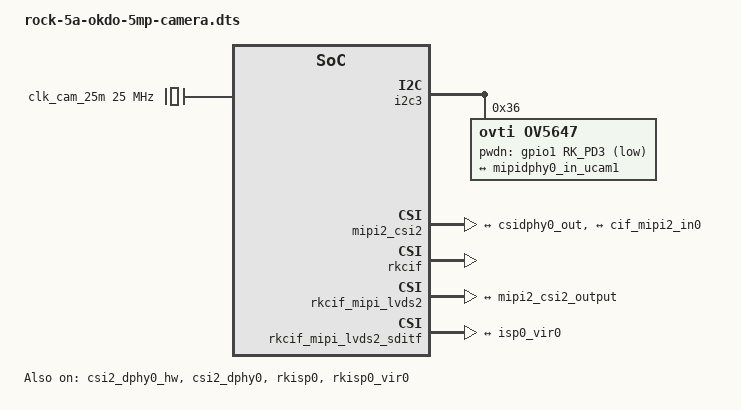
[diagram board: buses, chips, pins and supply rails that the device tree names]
/dts-v1/;
/plugin/;

#include <dt-bindings/gpio/gpio.h>
#include <dt-bindings/pinctrl/rockchip.h>

/ {
	metadata {
		title ="Enable OKDO 5MP Camera";
		compatible = "radxa,rock-5a", "radxa,rock-5c";
		category = "camera";
		exclusive = "csi2_dphy0";
		description = "Enable OKDO 5MP Camera.";
	};
};

&{/} {
	clk_cam_25m: external-camera-clock-25m {
		status = "okay";
		compatible = "fixed-clock";
		clock-frequency = <25000000>;
		clock-output-names = "clk_cam_25m";
		#clock-cells = <0>;
	};
};

&i2c3 {
	status = "okay";

	ov5647: ov5647@36 {
		status = "okay";
		compatible = "ovti,ov5647";
		reg = <0x36>;
		clocks = <&clk_cam_25m>;
		pwdn-gpios = <&gpio1 RK_PD3 GPIO_ACTIVE_LOW>;
		clock-names = "ext_cam_clk";
		rockchip,camera-module-index = <0>;
		rockchip,camera-module-facing = "back";
		rockchip,camera-module-name = "OKDO-5MP";
		rockchip,camera-module-lens-name = "default";

		port {
			ov5647_out0: endpoint {
				remote-endpoint = <&mipidphy0_in_ucam1>;
				data-lanes = <1 2>;
			};
		};
	};
};

&csi2_dphy0_hw {
	status = "okay";
};

&csi2_dphy0 {
	status = "okay";

	ports {
		#address-cells = <1>;
		#size-cells = <0>;

		port@0 {
			reg = <0>;
			#address-cells = <1>;
			#size-cells = <0>;

			mipidphy0_in_ucam1: endpoint@2 {
				reg = <2>;
				remote-endpoint = <&ov5647_out0>;
				data-lanes = <1 2>;
			};
		};

		port@1 {
			reg = <1>;
			#address-cells = <1>;
			#size-cells = <0>;

			csidphy0_out: endpoint@0 {
				reg = <0>;
				remote-endpoint = <&mipi2_csi2_input>;
			};
		};
	};
};

&mipi2_csi2 {
	status = "okay";

	ports {
		#address-cells = <1>;
		#size-cells = <0>;

		port@0 {
			reg = <0>;
			#address-cells = <1>;
			#size-cells = <0>;

			mipi2_csi2_input: endpoint@1 {
				reg = <1>;
				remote-endpoint = <&csidphy0_out>;
			};
		};

		port@1 {
			reg = <1>;
			#address-cells = <1>;
			#size-cells = <0>;

			mipi2_csi2_output: endpoint@0 {
				reg = <0>;
				remote-endpoint = <&cif_mipi2_in0>;
			};
		};
	};
};

&rkcif {
	status = "okay";
};

&rkcif_mipi_lvds2 {
	status = "okay";

	port {
		cif_mipi2_in0: endpoint {
		remote-endpoint = <&mipi2_csi2_output>;
		};
	};
};

&rkcif_mipi_lvds2_sditf {
	status = "okay";

	port {
		mipi_lvds2_sditf: endpoint {
			remote-endpoint = <&isp0_vir0>;
		};
	};
};

&rkcif_mmu {
	status = "okay";
};

&isp0_mmu {
	status = "okay";
};

&rkisp0 {
	status = "okay";
};

&rkisp0_vir0 {
	status = "okay";

	port {
		#address-cells = <1>;
		#size-cells = <0>;

		isp0_vir0: endpoint@0 {
			reg = <0>;
			remote-endpoint = <&mipi_lvds2_sditf>;
		};
	};
};

&pinctrl {
	camera {
		cam_pwdn_gpio: cam-pwdn-gpio {
			rockchip,pins = <1 RK_PD3 RK_FUNC_GPIO &pcfg_pull_up>;
		};
	};
};
